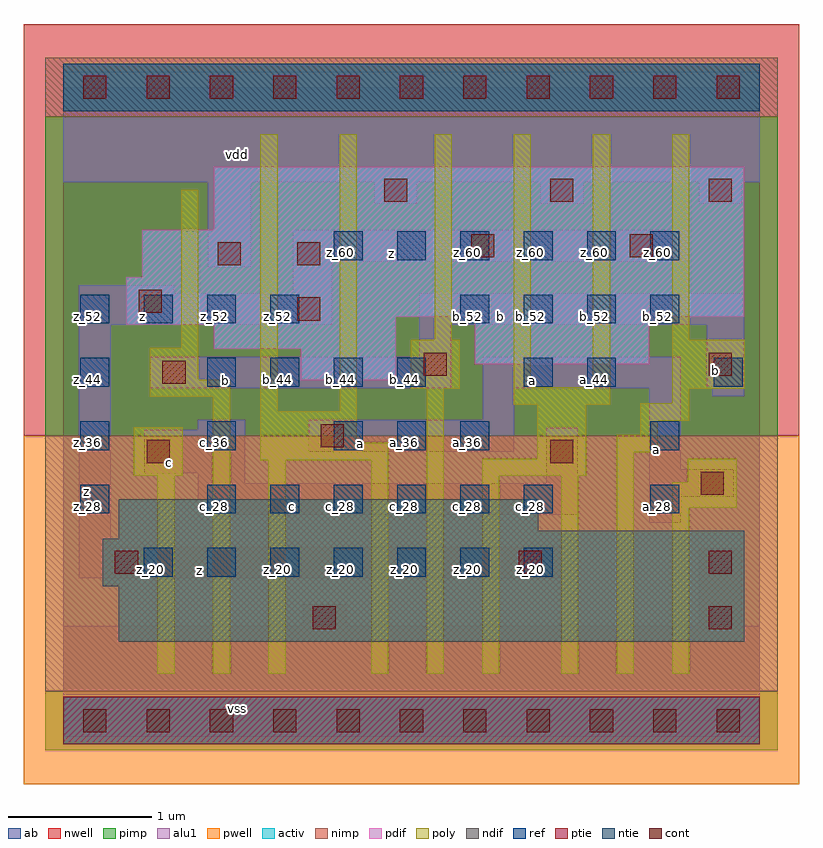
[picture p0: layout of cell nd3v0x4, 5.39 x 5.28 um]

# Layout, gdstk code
import gdstk
lib = gdstk.Library(unit=1e-6, precision=2.5e-09)
def R(c, l, rs):  # rectangles x0, y0, x1, y1
    for r in rs: c.add(gdstk.rectangle(r[:2], r[2:], *l))
def A(c, l, x, y, w, h, nx, ny, dx, dy):  # array of equal rectangles
    R(c, l, [(x+i*dx, y+j*dy, x+i*dx+w, y+j*dy+h) for i in range(nx) for j in range(ny)])
ndif = (3, 0)
pdif = (4, 0)
ntie = (5, 0)
ptie = (6, 0)
ref = (24, 0)
cont = (25, 0)
pwell = (41, 0)
nwell = (42, 0)
activ = (43, 0)
pimp = (44, 0)
nimp = (45, 0)
poly = (46, 0)
alu1 = (49, 0)
ab = (63, 0)

nd3v0x4 = lib.new_cell('nd3v0x4')
R(nd3v0x4, ndif, [(0.385,0.55,4.73,0.935), (0.275,0.935,4.73,1.265), (0.385,1.265,4.73,1.32), (0.385,1.32,3.3,1.54)])
R(nd3v0x4, pdif, [(1.65,2.365,2.31,2.585), (2.86,2.475,4.07,2.805), (1.045,2.585,2.31,2.75), (0.44,2.75,2.31,2.805), (0.44,2.805,4.73,3.08), (0.55,3.08,4.73,3.41), (1.045,3.41,4.73,3.85)])
R(nd3v0x4, ntie, [(0,4.235,4.84,4.565)])
R(nd3v0x4, ptie, [(0,-0.165,4.84,0.165)])
A(nd3v0x4, ref, 0.56, 1, 0.2, 0.2, 7, 1, 0.44, 0)
A(nd3v0x4, ref, 1, 1.44, 0.2, 0.2, 6, 1, 0.44, 0)
A(nd3v0x4, ref, 0.12, 1.88, 0.2, 0.2, 3, 1, 0.88, 0)
A(nd3v0x4, ref, 1, 2.32, 0.2, 0.2, 4, 1, 0.44, 0)
A(nd3v0x4, ref, 0.12, 2.76, 0.2, 0.2, 4, 1, 0.44, 0)
A(nd3v0x4, ref, 2.76, 2.76, 0.2, 0.2, 4, 1, 0.44, 0)
A(nd3v0x4, ref, 1.88, 3.2, 0.2, 0.2, 6, 1, 0.44, 0)
R(nd3v0x4, ref, [(0.12,1.44,0.32,1.64), (4.08,1.44,4.28,1.64), (2.32,1.88,2.52,2.08), (2.76,1.88,2.96,2.08), (4.08,1.88,4.28,2.08), (0.12,2.32,0.32,2.52), (3.2,2.32,3.4,2.52), (3.64,2.32,3.84,2.52), (4.52,2.32,4.72,2.52)])
A(nd3v0x4, cont, 0.14, -0.08, 0.16, 0.16, 11, 2, 0.44, 4.4)
R(nd3v0x4, cont, [(1.735,0.635,1.895,0.795), (4.485,0.635,4.645,0.795), (0.36,1.02,0.52,1.18), (3.165,1.02,3.325,1.18), (4.485,1.02,4.645,1.18), (4.43,1.57,4.59,1.73), (0.58,1.79,0.74,1.95), (3.385,1.79,3.545,1.95), (1.79,1.9,1.95,2.06), (0.69,2.34,0.85,2.5), (2.505,2.395,2.665,2.555), (4.485,2.395,4.645,2.555), (1.625,2.78,1.785,2.94), (0.525,2.835,0.685,2.995), (1.075,3.165,1.235,3.325), (1.625,3.165,1.785,3.325), (2.835,3.22,2.995,3.38), (3.935,3.22,4.095,3.38), (2.23,3.605,2.39,3.765), (3.385,3.605,3.545,3.765), (4.485,3.605,4.645,3.765)])
R(nd3v0x4, pwell, [(-0.275,-0.44,5.115,1.98)])
R(nd3v0x4, nwell, [(-0.275,1.98,5.115,4.84)])
R(nd3v0x4, activ, [(0,-0.165,4.84,0.165), (0.385,0.55,4.73,0.935), (0.275,0.935,4.73,1.265), (0.385,1.265,4.73,1.32), (0.385,1.32,3.3,1.54), (1.65,2.365,2.31,2.585), (2.86,2.475,4.07,2.805), (1.045,2.585,2.31,2.75), (0.44,2.75,2.31,2.805), (0.44,2.805,4.73,3.08), (0.55,3.08,4.73,3.41), (1.045,3.41,4.73,3.85), (0,4.235,4.84,4.565)])
R(nd3v0x4, pimp, [(-0.125,-0.205,4.965,0.205), (-0.125,1.98,4.965,4.195)])
R(nd3v0x4, nimp, [(-0.125,0.205,4.965,1.98), (-0.125,4.195,4.965,4.605)])
R(nd3v0x4, poly, [(0.655,0.325,0.775,1.7), (1.04,0.325,1.16,2.25), (1.425,0.325,1.545,1.81), (2.14,0.325,2.26,1.81), (2.525,0.325,2.645,2.305), (2.91,0.325,3.03,1.7), (3.46,0.325,3.58,1.7), (3.845,0.325,3.965,1.865), (4.23,0.325,4.35,1.48), (4.23,1.48,4.68,1.655), (4.34,1.655,4.68,1.82), (0.49,1.7,0.83,2.04), (2.91,1.7,3.635,1.82), (1.37,1.81,2.26,1.93), (3.295,1.82,3.635,2.195), (3.845,1.865,4.13,1.985), (1.37,1.93,2.04,2.15), (4.01,1.985,4.13,2.085), (4.01,2.085,4.35,2.205), (1.37,2.15,1.49,4.075), (1.92,2.15,2.04,4.075), (3.13,2.195,3.8,2.315), (4.23,2.205,4.35,2.305), (0.6,2.25,1.16,2.37), (2.415,2.305,2.755,2.645), (4.23,2.305,4.735,2.645), (3.13,2.315,3.25,4.075), (3.68,2.315,3.8,4.075), (0.6,2.37,0.94,2.59), (0.82,2.59,0.94,3.69), (2.58,2.645,2.7,4.075), (4.23,2.645,4.35,4.075)])
R(nd3v0x4, alu1, [(0,-0.11,4.84,0.66), (1.665,0.66,1.965,0.81), (4.415,0.66,4.715,1.195), (0.11,0.99,3.465,1.21), (0.11,1.21,0.33,2.75), (4.07,1.375,4.29,1.555), (0.935,1.43,3.575,1.65), (4.07,1.555,4.66,1.745), (0.935,1.65,1.265,1.72), (3.355,1.65,3.575,2.035), (0.565,1.72,1.265,2.02), (4.07,1.745,4.29,2.31), (1.705,1.87,3.135,2.09), (0.935,2.02,1.265,2.09), (2.915,2.09,3.135,2.31), (4.51,2.255,4.73,2.325), (0.605,2.31,2.695,2.53), (2.915,2.31,4.29,2.53), (4.47,2.325,4.73,2.75), (2.475,2.53,2.695,2.75), (0.11,2.75,1.87,2.97), (2.475,2.75,4.73,2.97), (0.11,2.97,0.77,3.025), (1.595,2.97,1.87,3.19), (1.005,3.15,1.305,3.74), (1.595,3.19,4.345,3.41), (2.16,3.59,2.46,3.74), (3.315,3.59,3.615,3.74), (4.415,3.59,4.715,3.74), (0,3.74,4.84,4.51)])
R(nd3v0x4, ab, [(0,0,4.84,4.4)])
nd3v0x4.add(gdstk.Label('vss', (1.21,0.0825), layer=49, texttype=0))
nd3v0x4.add(gdstk.Label('z', (0.9475,1.045), layer=49, texttype=0))
nd3v0x4.add(gdstk.Label('a', (4.125,1.885), layer=49, texttype=0))
nd3v0x4.add(gdstk.Label('c', (1.595,1.485), layer=49, texttype=0))
nd3v0x4.add(gdstk.Label('a', (2.0625,1.925), layer=49, texttype=0))
nd3v0x4.add(gdstk.Label('c', (0.74,1.795), layer=49, texttype=0))
nd3v0x4.add(gdstk.Label('b', (4.535,2.43), layer=49, texttype=0))
nd3v0x4.add(gdstk.Label('a', (3.2575,2.365), layer=49, texttype=0))
nd3v0x4.add(gdstk.Label('b', (1.1275,2.365), layer=49, texttype=0))
nd3v0x4.add(gdstk.Label('z', (0.165,1.595), layer=49, texttype=0))
nd3v0x4.add(gdstk.Label('b', (3.0375,2.805), layer=49, texttype=0))
nd3v0x4.add(gdstk.Label('z', (0.55,2.805), layer=49, texttype=0))
nd3v0x4.add(gdstk.Label('z', (2.2825,3.245), layer=49, texttype=0))
nd3v0x4.add(gdstk.Label('vdd', (1.21,3.9325), layer=49, texttype=0))
nd3v0x4.add(gdstk.Label('z_20', (0.61,1.05), layer=24, texttype=0))
nd3v0x4.add(gdstk.Label('z_52', (0.61,2.81), layer=24, texttype=0))
nd3v0x4.add(gdstk.Label('z_20', (1.05,1.05), layer=24, texttype=0))
nd3v0x4.add(gdstk.Label('c_28', (1.05,1.49), layer=24, texttype=0))
nd3v0x4.add(gdstk.Label('c_36', (1.05,1.93), layer=24, texttype=0))
nd3v0x4.add(gdstk.Label('b_44', (1.05,2.37), layer=24, texttype=0))
nd3v0x4.add(gdstk.Label('z_52', (1.05,2.81), layer=24, texttype=0))
nd3v0x4.add(gdstk.Label('z_20', (1.49,1.05), layer=24, texttype=0))
nd3v0x4.add(gdstk.Label('c_28', (1.49,1.49), layer=24, texttype=0))
nd3v0x4.add(gdstk.Label('b_44', (1.49,2.37), layer=24, texttype=0))
nd3v0x4.add(gdstk.Label('z_52', (1.49,2.81), layer=24, texttype=0))
nd3v0x4.add(gdstk.Label('z_20', (1.93,1.05), layer=24, texttype=0))
nd3v0x4.add(gdstk.Label('c_28', (1.93,1.49), layer=24, texttype=0))
nd3v0x4.add(gdstk.Label('a_36', (1.93,1.93), layer=24, texttype=0))
nd3v0x4.add(gdstk.Label('b_44', (1.93,2.37), layer=24, texttype=0))
nd3v0x4.add(gdstk.Label('z_60', (1.93,3.25), layer=24, texttype=0))
nd3v0x4.add(gdstk.Label('z_28', (0.17,1.49), layer=24, texttype=0))
nd3v0x4.add(gdstk.Label('z_36', (0.17,1.93), layer=24, texttype=0))
nd3v0x4.add(gdstk.Label('z_44', (0.17,2.37), layer=24, texttype=0))
nd3v0x4.add(gdstk.Label('z_52', (0.17,2.81), layer=24, texttype=0))
nd3v0x4.add(gdstk.Label('z_20', (2.37,1.05), layer=24, texttype=0))
nd3v0x4.add(gdstk.Label('c_28', (2.37,1.49), layer=24, texttype=0))
nd3v0x4.add(gdstk.Label('a_36', (2.37,1.93), layer=24, texttype=0))
nd3v0x4.add(gdstk.Label('b_44', (2.37,2.37), layer=24, texttype=0))
nd3v0x4.add(gdstk.Label('z_60', (2.37,3.25), layer=24, texttype=0))
nd3v0x4.add(gdstk.Label('z_20', (2.81,1.05), layer=24, texttype=0))
nd3v0x4.add(gdstk.Label('c_28', (2.81,1.49), layer=24, texttype=0))
nd3v0x4.add(gdstk.Label('a_36', (2.81,1.93), layer=24, texttype=0))
nd3v0x4.add(gdstk.Label('b_52', (2.81,2.81), layer=24, texttype=0))
nd3v0x4.add(gdstk.Label('z_60', (2.81,3.25), layer=24, texttype=0))
nd3v0x4.add(gdstk.Label('z_20', (3.25,1.05), layer=24, texttype=0))
nd3v0x4.add(gdstk.Label('c_28', (3.25,1.49), layer=24, texttype=0))
nd3v0x4.add(gdstk.Label('a_44', (3.25,2.37), layer=24, texttype=0))
nd3v0x4.add(gdstk.Label('b_52', (3.25,2.81), layer=24, texttype=0))
nd3v0x4.add(gdstk.Label('z_60', (3.25,3.25), layer=24, texttype=0))
nd3v0x4.add(gdstk.Label('a_44', (3.69,2.37), layer=24, texttype=0))
nd3v0x4.add(gdstk.Label('b_52', (3.69,2.81), layer=24, texttype=0))
nd3v0x4.add(gdstk.Label('z_60', (3.69,3.25), layer=24, texttype=0))
nd3v0x4.add(gdstk.Label('a_28', (4.13,1.49), layer=24, texttype=0))
nd3v0x4.add(gdstk.Label('a_36', (4.13,1.93), layer=24, texttype=0))
nd3v0x4.add(gdstk.Label('b_52', (4.13,2.81), layer=24, texttype=0))
nd3v0x4.add(gdstk.Label('z_60', (4.13,3.25), layer=24, texttype=0))
nd3v0x4.add(gdstk.Label('b_44', (4.57,2.37), layer=24, texttype=0))

lib.write_gds('nd3v0x4.gds')
